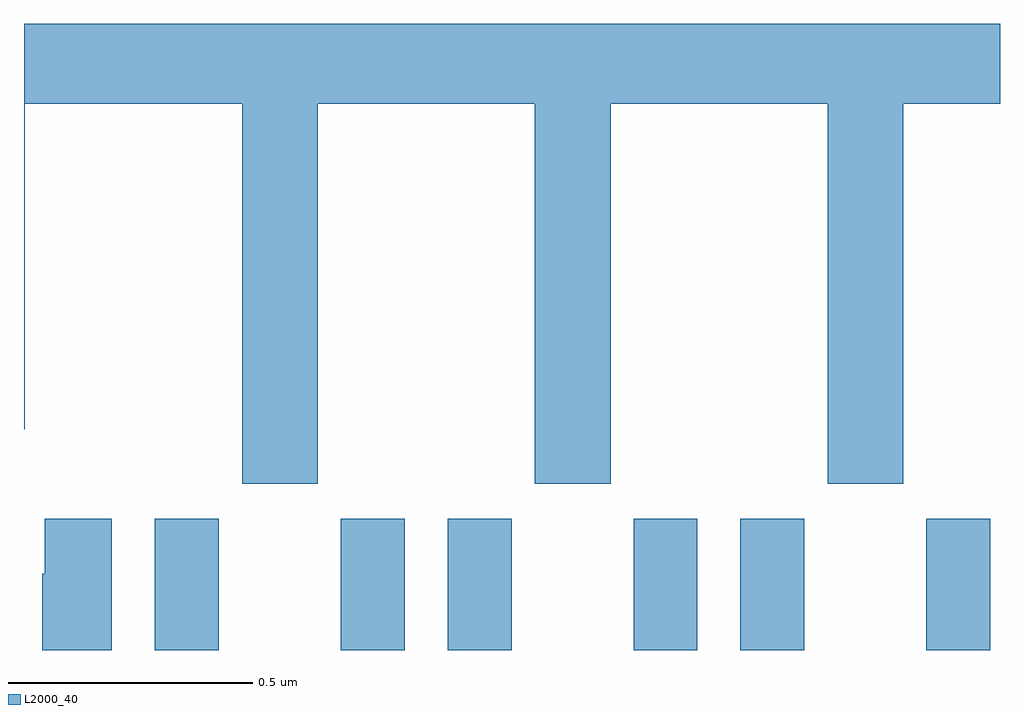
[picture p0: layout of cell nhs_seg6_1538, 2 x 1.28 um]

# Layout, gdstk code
import gdstk
lib = gdstk.Library(unit=1e-6, precision=1e-09)
def R(c, l, rs):  # rectangles x0, y0, x1, y1
    for r in rs: c.add(gdstk.rectangle(r[:2], r[2:], *l))
def P(c, l, *ps):  # polygons
    for p in ps: c.add(gdstk.Polygon(p, *l))
L2000_40 = (2000, 40)

nhs_seg6_1538 = lib.new_cell('nhs_seg6_1538')
R(nhs_seg6_1538, L2000_40, [(130.268,995.5,130.399,995.77), (130.649,995.5,130.78,995.77), (130.868,995.5,130.999,995.77), (131.249,995.5,131.38,995.77), (131.468,995.5,131.599,995.77), (131.849,995.5,131.98,995.77)])
P(nhs_seg6_1538, L2000_40, [(130.602,996.62),(131.047,996.62),(131.047,995.841),(131.202,995.841),(131.202,996.62),(131.647,996.62),(131.647,995.841),(131.802,995.841),(131.802,996.62),(132,996.62),(132,996.784),(130,996.784),(130,995.953),(130.002,995.953),(130.002,996.62),(130.447,996.62),(130.447,995.841),(130.602,995.841)],
  [(130.18,995.77),(130.043,995.77),(130.043,995.657),(130.037,995.657),(130.037,995.5),(130.18,995.5)])

lib.write_gds('nhs_seg6_1538.gds')
